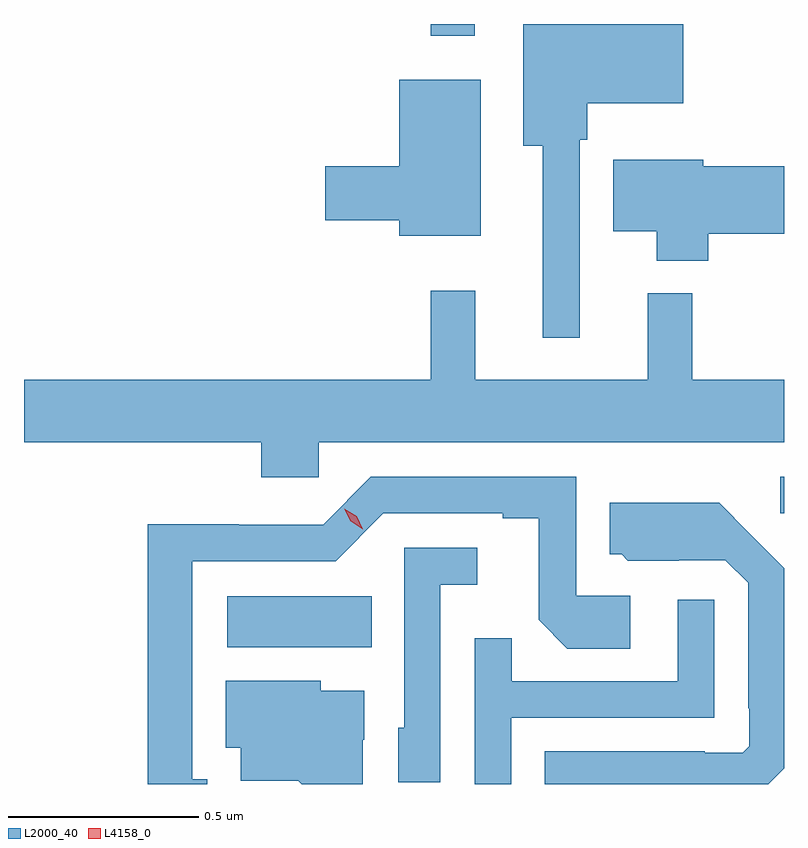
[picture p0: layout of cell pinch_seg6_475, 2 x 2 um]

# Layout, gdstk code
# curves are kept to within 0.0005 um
import gdstk
lib = gdstk.Library(unit=1e-6, precision=1e-09)
def R(c, l, rs):  # rectangles x0, y0, x1, y1
    for r in rs: c.add(gdstk.rectangle(r[:2], r[2:], *l))
def P(c, l, *ps):  # polygons
    for p in ps: c.add(gdstk.Polygon(p, *l))
L2000_40 = (2000, 40)
L4158_0 = (4158, 0)

pinch_seg6_475 = lib.new_cell('pinch_seg6_475')
R(pinch_seg6_475, L2000_40, [(765.636,917.492,766.016,917.626), (767.091,917.844,767.101,917.94), (766.171,919.101,766.287,919.132)])
P(pinch_seg6_475, L2000_40, [(766.563,918.827),(766.583,918.827),(766.583,918.923),(766.836,918.923),(766.836,919.132),(766.415,919.132),(766.415,918.812),(766.466,918.812),(766.466,918.306),(766.563,918.306)],
  [(766.303,918.985),(766.088,918.985),(766.088,918.758),(765.894,918.758),(765.894,918.616),(766.088,918.616),(766.088,918.575),(766.303,918.575)],
  [(766.901,918.58),(767.101,918.58),(767.101,918.758),(766.888,918.758),(766.888,918.775),(766.652,918.775),(766.652,918.587),(766.766,918.587),(766.766,918.509),(766.901,918.509)],
  [(765.876,918.032),(767.101,918.032),(767.101,918.196),(766.859,918.196),(766.859,918.424),(766.742,918.424),(766.742,918.196),(766.289,918.196),(766.289,918.43),(766.171,918.43),(766.171,918.196),(765.101,918.196),(765.101,918.032),(765.725,918.032),(765.725,917.939),(765.876,917.939)],
  [(765.583,917.145),(765.544,917.145),(765.544,917.718),(765.921,917.718),(766.047,917.844),(766.361,917.844),(766.361,917.832),(766.455,917.832),(766.455,917.564),(766.531,917.488),(766.696,917.488),(766.696,917.628),(766.554,917.628),(766.554,917.94),(766.014,917.94),(765.888,917.814),(765.666,917.814),(765.666,917.816),(765.426,917.816),(765.426,917.132),(765.583,917.132)],
  [(767.101,917.174),(767.101,917.7),(766.931,917.872),(766.643,917.872),(766.643,917.736),(766.674,917.736),(766.69,917.72),(766.824,917.72),(766.824,917.721),(766.947,917.721),(767.007,917.661),(767.007,917.332),(767.01,917.332),(767.01,917.232),(766.992,917.214),(766.892,917.214),(766.892,917.218),(766.472,917.218),(766.472,917.132),(767.059,917.132)],
  [(766.197,917.657),(766.294,917.657),(766.294,917.754),(766.101,917.754),(766.101,917.28),(766.086,917.28),(766.086,917.137),(766.197,917.137)],
  [(766.383,917.307),(766.917,917.307),(766.917,917.617),(766.821,917.617),(766.821,917.403),(766.385,917.403),(766.385,917.516),(766.287,917.516),(766.287,917.132),(766.383,917.132)],
  [(765.993,917.248),(765.997,917.248),(765.997,917.377),(765.882,917.377),(765.882,917.404),(765.632,917.404),(765.632,917.228),(765.671,917.228),(765.671,917.141),(765.823,917.141),(765.832,917.132),(765.993,917.132)])
P(pinch_seg6_475, L4158_0, [(765.992,917.803),(765.961,917.823),(765.944,917.856),(765.944,917.856),(765.944,917.856),(765.976,917.836),(765.993,917.803),(765.993,917.803)])

lib.write_gds('pinch_seg6_475.gds')
